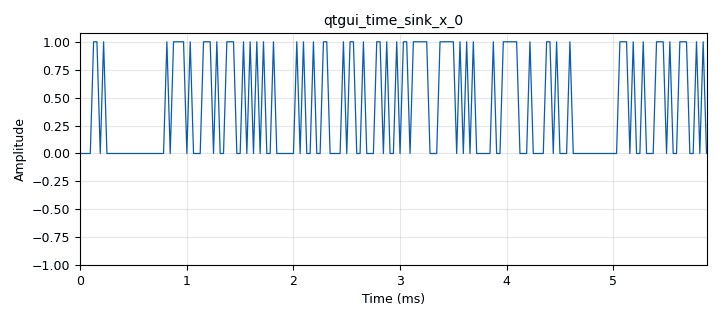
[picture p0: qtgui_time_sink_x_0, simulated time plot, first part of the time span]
options:
  parameters:
    author: Barry Duggan
    category: Custom
    description: Baseband packet
    generate_options: qt_gui
    id: pkt_7_base
    output_language: python
    title: pkt_7_base
  states: {}

blocks:
- name: hdr_format
  id: variable
  parameters:
    comment: header_format_crc
    value: digital.header_format_crc(len_key, num_key)
  states: {}
- name: len_key
  id: variable
  parameters:
    value: '"packet_len"'
  states: {}
- name: num_key
  id: variable
  parameters:
    value: '"packet_num"'
  states: {}
- name: samp_rate
  id: variable
  parameters:
    value: 32e3
  states: {}
- name: blocks_message_debug_0
  id: blocks_message_debug
  parameters: {}
  states: {}
- name: blocks_message_debug_1
  id: blocks_message_debug
  parameters: {}
  states: {}
- name: blocks_message_strobe_0
  id: blocks_message_strobe
  parameters:
    msg: pmt.cons(pmt.PMT_NIL,pmt.init_u8vector(9,(71,78,85,32,82,97,100,105,111)))
    period: '2000'
  states: {}
- name: blocks_pdu_to_tagged_stream_0
  id: blocks_pdu_to_tagged_stream
  parameters:
    tag: packet_len
    type: byte
  states: {}
- name: blocks_pdu_to_tagged_stream_1
  id: blocks_pdu_to_tagged_stream
  parameters:
    tag: packet_len
    type: byte
  states: {}
- name: blocks_repack_bits_bb_1
  id: blocks_repack_bits_bb
  parameters:
    endianness: gr.GR_MSB_FIRST
    k: '1'
    l: '8'
    len_tag_key: '"packet_len"'
  states: {}
- name: blocks_repack_bits_bb_1_0
  id: blocks_repack_bits_bb
  parameters:
    endianness: gr.GR_MSB_FIRST
    k: '8'
    l: '1'
    len_tag_key: '"packet_len"'
  states: {}
- name: blocks_tag_debug_0
  id: blocks_tag_debug
  parameters:
    type: byte
  states: {}
- name: blocks_tagged_stream_mux_0
  id: blocks_tagged_stream_mux
  parameters:
    lengthtagname: packet_len
    ninputs: '2'
    type: byte
  states: {}
- name: blocks_tagged_stream_to_pdu_0
  id: blocks_tagged_stream_to_pdu
  parameters:
    tag: packet_len
    type: byte
  states: {}
- name: blocks_throttle_0
  id: blocks_throttle
  parameters:
    samples_per_second: samp_rate
    type: byte
  states: {}
- name: blocks_uchar_to_float_0
  id: blocks_uchar_to_float
  parameters: {}
  states: {}
- name: digital_crc32_async_bb_0
  id: digital_crc32_async_bb
  parameters:
    check: 'True'
  states: {}
- name: digital_crc32_async_bb_1
  id: digital_crc32_async_bb
  parameters:
    check: 'False'
  states: {}
- name: digital_header_payload_demux_0
  id: digital_header_payload_demux
  parameters:
    header_len: '32'
    header_padding: '0'
    items_per_symbol: '1'
    length_tag_key: '"packet_len"'
    output_symbols: 'False'
    samp_rate: int(samp_rate)
    special_tags: ()
    timing_tag_key: '"burst"'
    trigger_tag_key: '"packet_len"'
    type: byte
  states: {}
- name: digital_protocol_formatter_async_0
  id: digital_protocol_formatter_async
  parameters:
    format: hdr_format
  states: {}
- name: digital_protocol_parser_b_0
  id: digital_protocol_parser_b
  parameters:
    format: hdr_format
  states: {}
- name: qtgui_time_sink_x_0
  id: qtgui_time_sink_x
  parameters:
    ctrlpanel: 'True'
    size: '1024'
    srate: samp_rate
    type: float
  states: {}
- name: virtual_sink_1
  id: virtual_sink
  parameters:
    stream_id: pkt_out
  states: {}
- name: virtual_source_1
  id: virtual_source
  parameters:
    stream_id: pkt_out
  states: {}

connections:
- [blocks_message_strobe_0, strobe, digital_crc32_async_bb_1, in]
- [blocks_pdu_to_tagged_stream_0, '0', blocks_tagged_stream_mux_0, '0']
- [blocks_pdu_to_tagged_stream_1, '0', blocks_tagged_stream_mux_0, '1']
- [blocks_repack_bits_bb_1, '0', blocks_tag_debug_0, '0']
- [blocks_repack_bits_bb_1, '0', blocks_tagged_stream_to_pdu_0, '0']
- [blocks_repack_bits_bb_1_0, '0', blocks_throttle_0, '0']
- [blocks_tagged_stream_mux_0, '0', blocks_repack_bits_bb_1_0, '0']
- [blocks_tagged_stream_to_pdu_0, pdus, digital_crc32_async_bb_0, in]
- [blocks_throttle_0, '0', blocks_uchar_to_float_0, '0']
- [blocks_throttle_0, '0', virtual_sink_1, '0']
- [blocks_uchar_to_float_0, '0', qtgui_time_sink_x_0, '0']
- [digital_crc32_async_bb_0, out, blocks_message_debug_1, print]
- [digital_crc32_async_bb_1, out, digital_protocol_formatter_async_0, in]
- [digital_header_payload_demux_0, '0', digital_protocol_parser_b_0, '0']
- [digital_header_payload_demux_0, '1', blocks_repack_bits_bb_1, '0']
- [digital_protocol_formatter_async_0, header, blocks_message_debug_0, print]
- [digital_protocol_formatter_async_0, header, blocks_pdu_to_tagged_stream_0, pdus]
- [digital_protocol_formatter_async_0, payload, blocks_message_debug_0, print]
- [digital_protocol_formatter_async_0, payload, blocks_pdu_to_tagged_stream_1, pdus]
- [digital_protocol_parser_b_0, info, digital_header_payload_demux_0, header_data]
- [virtual_source_1, '0', digital_header_payload_demux_0, '0']

metadata:
  file_format: 1
